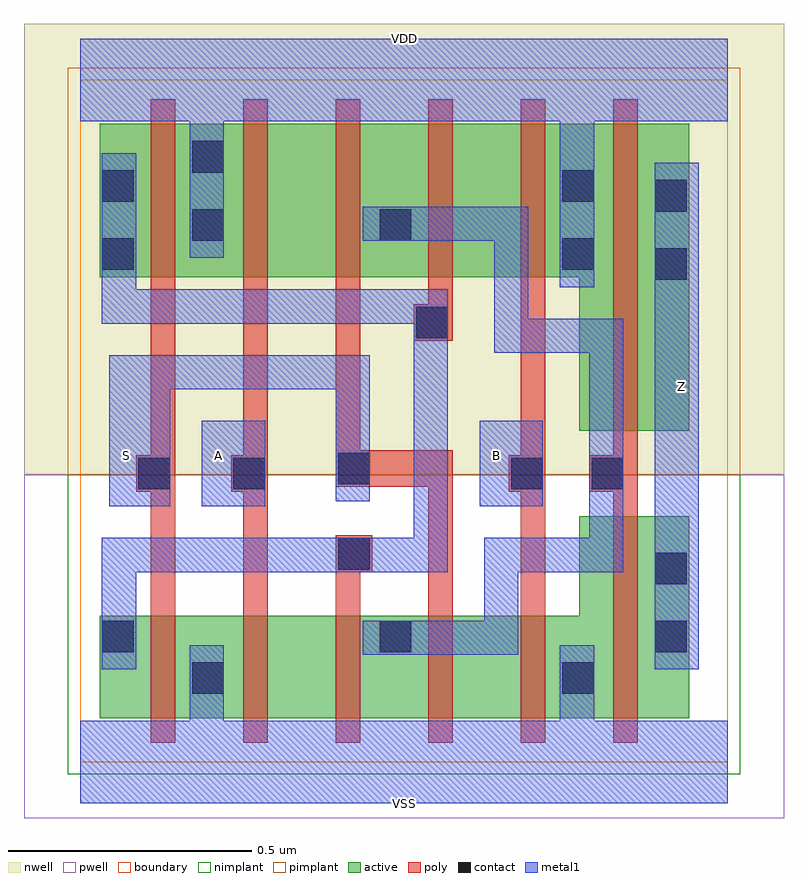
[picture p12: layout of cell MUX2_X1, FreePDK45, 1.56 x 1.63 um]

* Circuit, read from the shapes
.subckt MUX2_X1 A B S VDD VSS Z
M1 VSS S n1 VSUBS nfet w=0.21u l=0.05u
M2 n2 A VSS VSUBS nfet w=0.21u l=0.05u
M3 n3 n1 n2 VSUBS nfet w=0.21u l=0.05u
M4 n4 S n3 VSUBS nfet w=0.21u l=0.05u
M5 VSS B n4 VSUBS nfet w=0.21u l=0.05u
M6 Z n3 VSS VSUBS nfet w=0.415u l=0.05u
M7 VDD S n1 n5 pfet w=0.315u l=0.05u
M8 n6 A VDD n5 pfet w=0.315u l=0.05u
M9 n3 S n6 n5 pfet w=0.315u l=0.05u
M10 n7 n1 n3 n5 pfet w=0.315u l=0.05u
M11 VDD B n7 n5 pfet w=0.315u l=0.05u
M12 Z n3 VDD n5 pfet w=0.63u l=0.05u
.ends

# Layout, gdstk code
import gdstk
lib = gdstk.Library(unit=1e-6, precision=5e-10)
def R(c, l, rs):  # rectangles x0, y0, x1, y1
    for r in rs: c.add(gdstk.rectangle(r[:2], r[2:], *l))
def P(c, l, *ps):  # polygons
    for p in ps: c.add(gdstk.Polygon(p, *l))
active = (1, 0)
pwell = (2, 0)
nwell = (3, 0)
nimplant = (4, 0)
pimplant = (5, 0)
poly = (9, 0)
contact = (10, 0)
metal1 = (11, 0)
boundary = (235, 0)

mux2_x1 = lib.new_cell('MUX2_X1')
P(mux2_x1, active, [(0.04,0.995),(1.025,0.995),(1.025,0.68),(1.25,0.68),(1.25,1.31),(0.04,1.31)],
  [(0.04,0.09),(1.25,0.09),(1.25,0.505),(1.025,0.505),(1.025,0.3),(0.04,0.3)])
R(mux2_x1, pwell, [(-0.115,-0.115,1.445,0.59)])
R(mux2_x1, nwell, [(-0.115,0.59,1.445,1.515)])
R(mux2_x1, nimplant, [(-0.025,-0.025,1.355,0.59)])
R(mux2_x1, pimplant, [(-0.025,0.59,1.355,1.425)])
P(mux2_x1, poly, [(1.045,0.555),(1.095,0.555),(1.095,0.04),(1.145,0.04),(1.145,1.36),(1.095,1.36),(1.095,0.63),(1.045,0.63)],
  [(0.88,0.555),(0.905,0.555),(0.905,0.04),(0.955,0.04),(0.955,1.36),(0.905,1.36),(0.905,0.63),(0.88,0.63)],
  [(0.685,0.865),(0.765,0.865),(0.765,1.36),(0.715,1.36),(0.715,0.94),(0.685,0.94)],
  [(0.525,0.565),(0.715,0.565),(0.715,0.04),(0.765,0.04),(0.765,0.64),(0.575,0.64),(0.575,1.36),(0.525,1.36)],
  [(0.525,0.04),(0.575,0.04),(0.575,0.39),(0.6,0.39),(0.6,0.465),(0.525,0.465)],
  [(0.31,0.555),(0.335,0.555),(0.335,0.04),(0.385,0.04),(0.385,1.36),(0.335,1.36),(0.335,0.63),(0.31,0.63)],
  [(0.115,0.555),(0.145,0.555),(0.145,0.04),(0.195,0.04),(0.195,1.36),(0.145,1.36),(0.145,0.63),(0.115,0.63)])
R(mux2_x1, contact, [(0.23,0.14,0.295,0.205), (0.99,0.14,1.055,0.205), (0.045,0.225,0.11,0.29), (0.615,0.225,0.68,0.29), (1.18,0.225,1.245,0.29), (1.18,0.365,1.245,0.43), (0.53,0.395,0.595,0.46), (0.12,0.56,0.185,0.625), (0.315,0.56,0.38,0.625), (0.885,0.56,0.95,0.625), (1.05,0.56,1.115,0.625), (0.53,0.57,0.595,0.635), (0.69,0.87,0.755,0.935), (1.18,0.99,1.245,1.055), (0.045,1.01,0.11,1.075), (0.99,1.01,1.055,1.075), (0.23,1.07,0.295,1.135), (0.615,1.07,0.68,1.135), (1.18,1.13,1.245,1.195), (0.045,1.15,0.11,1.215), (0.99,1.15,1.055,1.215), (0.23,1.21,0.295,1.275)])
R(mux2_x1, metal1, [(1.18,0.19,1.27,1.23), (1.18,0.19,1.27,1.23), (0.25,0.525,0.38,0.7), (0.25,0.525,0.38,0.7), (0.82,0.525,0.95,0.7), (0.82,0.525,0.95,0.7)])
P(mux2_x1, metal1, [(0,-0.085),(1.33,-0.085),(1.33,0.085),(1.055,0.085),(1.055,0.24),(0.985,0.24),(0.985,0.085),(0.295,0.085),(0.295,0.24),(0.225,0.24),(0.225,0.085),(0,0.085)],
  [(0,1.315),(0.225,1.315),(0.225,1.035),(0.295,1.035),(0.295,1.315),(0.985,1.315),(0.985,0.975),(1.055,0.975),(1.055,1.315),(1.33,1.315),(1.33,1.485),(0,1.485)],
  [(0.06,0.525),(0.185,0.525),(0.185,0.765),(0.525,0.765),(0.525,0.535),(0.595,0.535),(0.595,0.835),(0.06,0.835)],
  [(0,1.315),(0.225,1.315),(0.225,1.035),(0.295,1.035),(0.295,1.315),(0.985,1.315),(0.985,0.975),(1.055,0.975),(1.055,1.315),(1.33,1.315),(1.33,1.485),(0,1.485)],
  [(0,-0.085),(1.33,-0.085),(1.33,0.085),(1.055,0.085),(1.055,0.24),(0.985,0.24),(0.985,0.085),(0.295,0.085),(0.295,0.24),(0.225,0.24),(0.225,0.085),(0,0.085)],
  [(0.58,1.07),(0.85,1.07),(0.85,0.84),(1.045,0.84),(1.045,0.46),(0.83,0.46),(0.83,0.29),(0.58,0.29),(0.58,0.22),(0.9,0.22),(0.9,0.39),(1.115,0.39),(1.115,0.91),(0.92,0.91),(0.92,1.14),(0.58,1.14)],
  [(0.045,0.9),(0.685,0.9),(0.685,0.46),(0.045,0.46),(0.045,0.19),(0.115,0.19),(0.115,0.39),(0.755,0.39),(0.755,0.97),(0.115,0.97),(0.115,1.25),(0.045,1.25)],
  [(0.06,0.525),(0.185,0.525),(0.185,0.765),(0.525,0.765),(0.525,0.535),(0.595,0.535),(0.595,0.835),(0.06,0.835)])
R(mux2_x1, boundary, [(0,0,1.33,1.4)])
mux2_x1.add(gdstk.Label('Z', (1.235,0.77), layer=11, texttype=0))
mux2_x1.add(gdstk.Label('VSS', (0.665,-0.085), layer=11, texttype=0))
mux2_x1.add(gdstk.Label('VDD', (0.665,1.485), layer=11, texttype=0))
mux2_x1.add(gdstk.Label('S', (0.095,0.63), layer=11, texttype=0))
mux2_x1.add(gdstk.Label('B', (0.855,0.63), layer=11, texttype=0))
mux2_x1.add(gdstk.Label('A', (0.285,0.63), layer=11, texttype=0))

lib.write_gds('MUX2_X1.gds')
